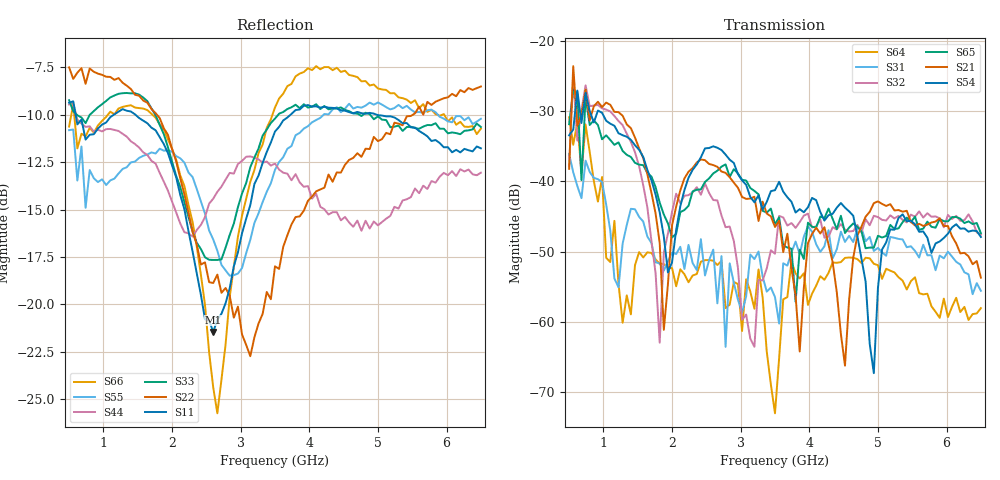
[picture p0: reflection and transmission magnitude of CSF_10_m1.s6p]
!Keysight Technologies,M9804A,MY58100912,A.14.10.03
!Date: Thursday, April 27, 2023 10:28:33
!Correction: S11(C  6-Port  )
!S12(C  6-Port  )
!S13(C  6-Port  )
!S14(C  6-Port  )
!S15(C  6-Port  )
!S16(C  6-Port  )
!S21(C  6-Port  )
!S22(C  6-Port  )
!S23(C  6-Port  )
!S24(C  6-Port  )
!S25(C  6-Port  )
!S26(C  6-Port  )
!S31(C  6-Port  )
!S32(C  6-Port  )
!S33(C  6-Port  )
!S34(C  6-Port  )
!S35(C  6-Port  )
!S36(C  6-Port  )
!S41(C  6-Port  )
!S42(C  6-Port  )
!S43(C  6-Port  )
!S44(C  6-Port  )
!S45(C  6-Port  )
!S46(C  6-Port  )
!S51(C  6-Port  )
!S52(C  6-Port  )
!S53(C  6-Port  )
!S54(C  6-Port  )
!S55(C  6-Port  )
!S56(C  6-Port  )
!S61(C  6-Port  )
!S62(C  6-Port  )
!S63(C  6-Port  )
!S64(C  6-Port  )
!S65(C  6-Port  )
!S66(C  6-Port  )
!S6P File: Measurement: :
# Hz S  RI  R 50
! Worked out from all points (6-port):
!   101 points, 500 MHz to 6.5 GHz, reference 50 ohm
!   strongest paths, dB at 500 MHz, 2 GHz, 3.5 GHz, 5 GHz, 6.5 GHz:
!     S54: -33.4, -51.5, -41.2, -55.2, -47.9
!     S21: -38.2, -46.2, -46.5, -42.8, -53.7
!     S65: -31.9, -48.0, -46.1, -47.7, -47.4
!     S32: -37.8, -44.3, -50.3, -45.1, -47.6
!     S31: -36.1, -50.1, -56.5, -49.5, -55.6
!     S64: -30.9, -52.3, -73.0, -51.9, -58.0
!   lowest |S11| = -21.5 dB at 2.6 GHz (marker M1), VSWR 1.18, Z = 42.5 + j2.35 ohm
!   |S11| at or under -10 dB: 595.1 MHz to 1.15 GHz (555.1 MHz wide, 63.6 % of centre); 1.467 GHz to 3.725 GHz (2.258 GHz wide, 87 % of centre); 4.987 GHz to end of sweep
